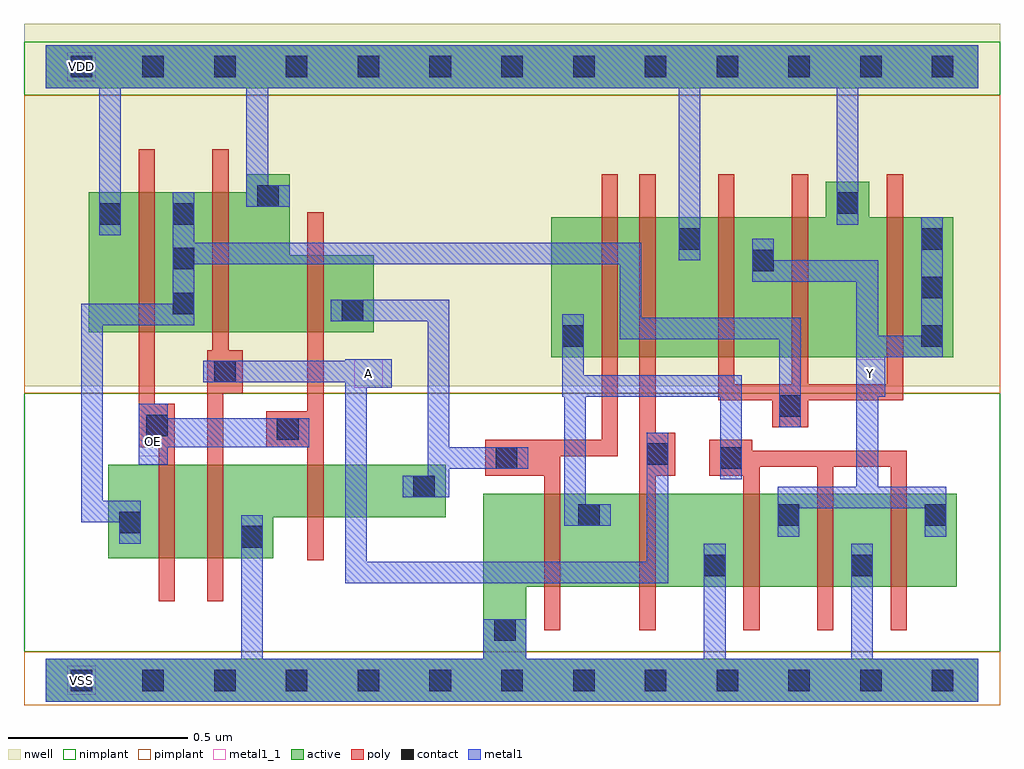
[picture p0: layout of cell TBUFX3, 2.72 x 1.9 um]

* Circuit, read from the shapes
.subckt TBUFX3 A OE VDD VSS Y
M1 n1 OE n2 VSS nfet w=0.26u l=0.045u
M2 VSS A n1 VSS nfet w=0.26u l=0.045u
M3 n3 OE VSS VSS nfet w=0.145u l=0.045u
M4 n4 n3 VSS VSS nfet w=0.26u l=0.045u
M5 VSS A n4 VSS nfet w=0.26u l=0.045u
M6 Y n4 VSS VSS nfet w=0.26u l=0.045u m=3
M7 n2 OE VDD VDD pfet w=0.39u l=0.045u
M8 VDD A n2 VDD pfet w=0.39u l=0.045u
M9 n3 OE VDD VDD pfet w=0.215u l=0.045u
M10 n5 n3 n4 VDD pfet w=0.39u l=0.045u
M11 VDD A n5 VDD pfet w=0.39u l=0.045u
M12 Y n2 VDD VDD pfet w=0.39u l=0.045u m=3
.ends

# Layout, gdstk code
import gdstk
lib = gdstk.Library(unit=1e-6, precision=5e-10)
def R(c, l, rs):  # rectangles x0, y0, x1, y1
    for r in rs: c.add(gdstk.rectangle(r[:2], r[2:], *l))
def A(c, l, x, y, w, h, nx, ny, dx, dy):  # array of equal rectangles
    R(c, l, [(x+i*dx, y+j*dy, x+i*dx+w, y+j*dy+h) for i in range(nx) for j in range(ny)])
def P(c, l, *ps):  # polygons
    for p in ps: c.add(gdstk.Polygon(p, *l))
active = (1, 0)
nwell = (2, 0)
poly = (3, 0)
nimplant = (4, 0)
pimplant = (5, 0)
contact = (6, 0)
metal1 = (7, 0)
metal1_1 = (7, 1)

tbufx3 = lib.new_cell('TBUFX3')
R(tbufx3, active, [(0,1.65,2.6,1.77)])
P(tbufx3, active, [(0.56,1.41),(0.68,1.41),(0.68,1.185),(0.915,1.185),(0.915,0.97),(0.12,0.97),(0.12,1.36),(0.56,1.36)],
  [(2.175,1.39),(2.295,1.39),(2.295,1.29),(2.53,1.29),(2.53,0.9),(1.41,0.9),(1.41,1.29),(2.175,1.29)],
  [(0.175,0.6),(1.115,0.6),(1.115,0.455),(0.635,0.455),(0.635,0.34),(0.175,0.34)],
  [(1.22,0.52),(2.54,0.52),(2.54,0.26),(1.34,0.26),(1.34,0.06),(2.6,0.06),(2.6,-0.06),(0,-0.06),(0,0.06),(1.22,0.06)])
R(tbufx3, nwell, [(-0.06,0.82,2.66,1.83)])
P(tbufx3, poly, [(0.26,1.48),(0.305,1.48),(0.305,0.77),(0.36,0.77),(0.36,0.22),(0.315,0.22),(0.315,0.65),(0.26,0.65)],
  [(0.465,1.48),(0.51,1.48),(0.51,0.92),(0.55,0.92),(0.55,0.8),(0.495,0.8),(0.495,0.22),(0.45,0.22),(0.45,0.92),(0.465,0.92)],
  [(1.55,1.41),(1.595,1.41),(1.595,0.625),(1.435,0.625),(1.435,0.14),(1.39,0.14),(1.39,0.57),(1.225,0.57),(1.225,0.67),(1.55,0.67)],
  [(1.655,1.41),(1.7,1.41),(1.7,0.69),(1.755,0.69),(1.755,0.57),(1.7,0.57),(1.7,0.14),(1.655,0.14)],
  [(1.875,1.41),(1.92,1.41),(1.92,0.825),(2.08,0.825),(2.08,1.41),(2.125,1.41),(2.125,0.825),(2.345,0.825),(2.345,1.41),(2.39,1.41),(2.39,0.78),(2.125,0.78),(2.125,0.705),(2.025,0.705),(2.025,0.78),(1.875,0.78)],
  [(0.73,1.305),(0.775,1.305),(0.775,0.335),(0.73,0.335),(0.73,0.65),(0.615,0.65),(0.615,0.75),(0.73,0.75)],
  [(1.85,0.67),(1.97,0.67),(1.97,0.64),(2.4,0.64),(2.4,0.14),(2.355,0.14),(2.355,0.595),(2.195,0.595),(2.195,0.14),(2.15,0.14),(2.15,0.595),(1.99,0.595),(1.99,0.14),(1.945,0.14),(1.945,0.57),(1.85,0.57)])
R(tbufx3, nimplant, [(-0.06,0.08,2.66,0.8), (-0.06,1.63,2.66,1.78)])
R(tbufx3, pimplant, [(-0.06,-0.07,2.66,0.08), (-0.06,0.8,2.66,1.63)])
A(tbufx3, contact, 0.07, -0.03, 0.06, 0.06, 13, 2, 0.2, 1.71)
A(tbufx3, contact, 2.44, 0.93, 0.06, 0.06, 1, 3, 0, 0.135)
A(tbufx3, contact, 0.355, 1.02, 0.06, 0.06, 1, 3, 0, 0.125)
R(tbufx3, contact, [(1.25,0.11,1.31,0.17), (1.835,0.29,1.895,0.35), (2.245,0.29,2.305,0.35), (0.545,0.37,0.605,0.43), (0.205,0.41,0.265,0.47), (1.485,0.43,1.545,0.49), (2.04,0.43,2.1,0.49), (2.45,0.43,2.51,0.49), (1.025,0.51,1.085,0.57), (1.255,0.59,1.315,0.65), (1.88,0.59,1.94,0.65), (1.675,0.6,1.735,0.66), (0.645,0.67,0.705,0.73), (0.28,0.68,0.34,0.74), (2.045,0.735,2.105,0.795), (0.47,0.83,0.53,0.89), (1.44,0.93,1.5,0.99), (0.825,1,0.885,1.06), (1.97,1.14,2.03,1.2), (1.765,1.2,1.825,1.26), (0.15,1.27,0.21,1.33), (2.205,1.3,2.265,1.36), (0.59,1.32,0.65,1.38)])
P(tbufx3, metal1, [(0,1.77),(2.6,1.77),(2.6,1.65),(2.265,1.65),(2.265,1.27),(2.205,1.27),(2.205,1.65),(1.825,1.65),(1.825,1.17),(1.765,1.17),(1.765,1.65),(0.62,1.65),(0.62,1.38),(0.68,1.38),(0.68,1.32),(0.56,1.32),(0.56,1.65),(0.21,1.65),(0.21,1.24),(0.15,1.24),(0.15,1.65),(0,1.65)],
  [(0.355,1.36),(0.415,1.36),(0.415,1.22),(1.66,1.22),(1.66,1.01),(2.105,1.01),(2.105,0.705),(2.045,0.705),(2.045,0.95),(1.6,0.95),(1.6,1.16),(0.415,1.16),(0.415,0.99),(0.16,0.99),(0.16,0.5),(0.265,0.5),(0.265,0.38),(0.205,0.38),(0.205,0.44),(0.1,0.44),(0.1,1.05),(0.355,1.05)],
  [(1.44,1.02),(1.5,1.02),(1.5,0.85),(1.94,0.85),(1.94,0.56),(1.88,0.56),(1.88,0.79),(1.505,0.79),(1.505,0.49),(1.575,0.49),(1.575,0.43),(1.445,0.43),(1.445,0.79),(1.44,0.79)],
  [(0.795,1.06),(1.125,1.06),(1.125,0.65),(1.345,0.65),(1.345,0.59),(1.125,0.59),(1.125,0.51),(0.995,0.51),(0.995,0.57),(1.065,0.57),(1.065,1),(0.795,1)],
  [(0.835,0.895),(0.965,0.895),(0.965,0.815),(0.895,0.815),(0.895,0.33),(1.675,0.33),(1.675,0.69),(1.735,0.69),(1.735,0.27),(0.835,0.27),(0.835,0.83),(0.44,0.83),(0.44,0.89),(0.835,0.89)],
  [(0.26,0.77),(0.34,0.77),(0.34,0.73),(0.735,0.73),(0.735,0.65),(0.34,0.65),(0.34,0.6),(0.26,0.6)],
  [(1.97,1.23),(2.03,1.23),(2.03,1.17),(2.32,1.17),(2.32,0.96),(2.44,0.96),(2.44,1.29),(2.5,1.29),(2.5,0.9),(2.34,0.9),(2.34,0.79),(2.32,0.79),(2.32,0.54),(2.51,0.54),(2.51,0.4),(2.45,0.4),(2.45,0.48),(2.1,0.48),(2.1,0.4),(2.04,0.4),(2.04,0.54),(2.26,0.54),(2.26,1.11),(1.97,1.11)],
  [(0.545,0.46),(0.605,0.46),(0.605,0.06),(1.22,0.06),(1.22,0.17),(1.34,0.17),(1.34,0.06),(1.835,0.06),(1.835,0.38),(1.895,0.38),(1.895,0.06),(2.245,0.06),(2.245,0.38),(2.305,0.38),(2.305,0.06),(2.6,0.06),(2.6,-0.06),(0,-0.06),(0,0.06),(0.545,0.06)])
R(tbufx3, metal1_1, [(0.06,-0.04,0.14,0.04), (0.26,0.625,0.34,0.705), (0.86,0.815,0.94,0.895), (2.26,0.815,2.34,0.895), (0.06,1.67,0.14,1.75)])
tbufx3.add(gdstk.Label('Y', (2.3,0.855), layer=7, texttype=1))
tbufx3.add(gdstk.Label('A', (0.9,0.855), layer=7, texttype=1))
tbufx3.add(gdstk.Label('OE', (0.3,0.665), layer=7, texttype=1))
tbufx3.add(gdstk.Label('VDD', (0.1,1.71), layer=7, texttype=1))
tbufx3.add(gdstk.Label('VSS', (0.1,0), layer=7, texttype=1))
tbufx3.add(gdstk.Label('TBUFX3', (0,0), layer=63, texttype=0))

lib.write_gds('TBUFX3.gds')
